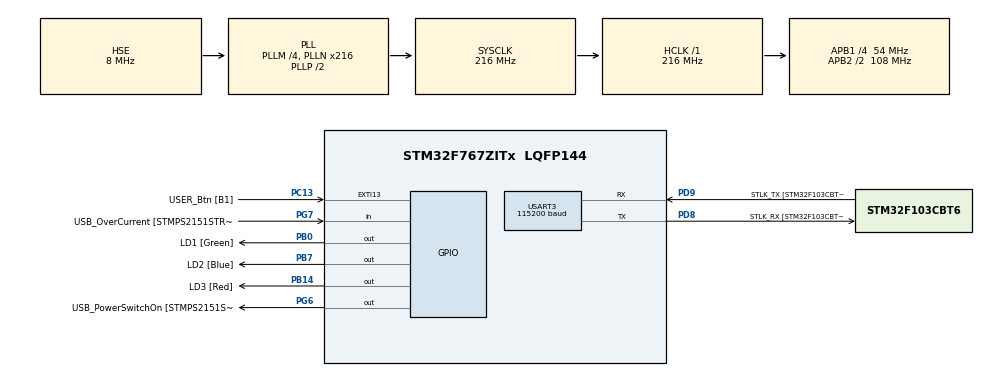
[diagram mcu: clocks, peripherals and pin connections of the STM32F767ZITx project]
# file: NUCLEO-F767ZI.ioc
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CORTEX_M7.CPU_DCache=Enabled
CORTEX_M7.CPU_ICache=Enabled
Mcu.Family=STM32F7
Mcu.Name=STM32F767ZITx
Mcu.Package=LQFP144
NVIC.PriorityGroup=NVIC_PRIORITYGROUP_4
PA1.GPIO_Label=RMII_REF_CLK [LAN8742A-CZ-TR_REFCLK0]
PA1.Signal=ETH_REF_CLK
PA10.GPIO_Label=USB_ID
PA10.Signal=USB_OTG_FS_ID
PA11.GPIO_Label=USB_DM
PA11.Signal=USB_OTG_FS_DM
PA12.GPIO_Label=USB_DP
PA12.Signal=USB_OTG_FS_DP
PA13.GPIO_Label=TMS
PA13.Signal=SYS_JTMS-SWDIO
PA14.GPIO_Label=TCK
PA14.Signal=SYS_JTCK-SWCLK
PA2.GPIO_Label=RMII_MDIO [LAN8742A-CZ-TR_MDIO]
PA2.Signal=ETH_MDIO
PA7.GPIO_Label=RMII_CRS_DV [LAN8742A-CZ-TR_CRS_DV]
PA7.Signal=ETH_CRS_DV
PA8.GPIO_Label=USB_SOF [TP1]
PA8.Signal=USB_OTG_FS_SOF
PA9.GPIO_Label=USB_VBUS
PA9.Signal=USB_OTG_FS_VBUS
PB0.GPIO_Label=LD1 [Green]
PB0.Signal=GPIO_Output
PB13.GPIO_Label=RMII_TXD1 [LAN8742A-CZ-TR_TXD1]
PB13.Signal=ETH_TXD1
PB14.GPIO_Label=LD3 [Red]
PB14.Signal=GPIO_Output
PB3.GPIO_Label=SW0
PB3.Signal=SYS_JTDO-SWO
PB7.GPIO_Label=LD2 [Blue]
PB7.Signal=GPIO_Output
PC1.GPIO_Label=RMII_MDC [LAN8742A-CZ-TR_MDC]
PC1.Signal=ETH_MDC
PC13.GPIO_Label=USER_Btn [B1]
PC13.Signal=GPXTI13
PC14/OSC32_IN.Signal=RCC_OSC32_IN
PC15/OSC32_OUT.Signal=RCC_OSC32_OUT
PC4.GPIO_Label=RMII_RXD0 [LAN8742A-CZ-TR_RXD0]
PC4.Signal=ETH_RXD0
PC5.GPIO_Label=RMII_RXD1 [LAN8742A-CZ-TR_RXD1]
PC5.Signal=ETH_RXD1
PD8.GPIO_Label=STLK_RX [STM32F103CBT6_PA3]
PD8.Mode=Asynchronous
PD8.Signal=USART3_TX
PD9.GPIO_Label=STLK_TX [STM32F103CBT6_PA2]
PD9.GPIO_PuPd=GPIO_PULLUP
PD9.Mode=Asynchronous
PD9.Signal=USART3_RX
PG11.GPIO_Label=RMII_TX_EN [LAN8742A-CZ-TR_TXEN]
PG11.Signal=ETH_TX_EN
PG13.GPIO_Label=RMII_TXD0 [LAN8742A-CZ-TR_TXD0]
PG13.Signal=ETH_TXD0
PG6.GPIO_Label=USB_PowerSwitchOn [STMPS2151STR_EN]
PG6.Signal=GPIO_Output
PG7.GPIO_Label=USB_OverCurrent [STMPS2151STR_FAULT]
PG7.Signal=GPIO_Input
PH0/OSC_IN.GPIO_Label=MCO [STM32F103CBT6_PA8]
PH0/OSC_IN.Mode=HSE-External-Clock-Source
PH0/OSC_IN.Signal=RCC_OSC_IN
PH1/OSC_OUT.Mode=HSE-External-Clock-Source
PH1/OSC_OUT.Signal=RCC_OSC_OUT
ProjectManager.HeapSize=0x800
ProjectManager.StackSize=0x800
ProjectManager.TargetToolchain=STM32CubeIDE
RCC.48MHZClocksFreq_Value=24000000
RCC.AHBFreq_Value=216000000
RCC.APB1CLKDivider=RCC_HCLK_DIV4
RCC.APB1Freq_Value=54000000
RCC.APB1TimFreq_Value=108000000
RCC.APB2CLKDivider=RCC_HCLK_DIV2
RCC.APB2Freq_Value=108000000
RCC.APB2TimFreq_Value=216000000
RCC.CortexFreq_Value=216000000
RCC.HCLKFreq_Value=216000000
RCC.HSE_VALUE=8000000
RCC.HSI_VALUE=16000000
RCC.LSE_VALUE=32768
RCC.PLLM=4
RCC.PLLMUL=RCC_PLL_MUL9
RCC.PLLN=216
RCC.PLLP=2
RCC.PLLQ=9
RCC.PLLSourceVirtual=RCC_PLLSOURCE_HSE
RCC.PRESCALERUSB=RCC_USBCLKSOURCE_PLL_DIV1_5
RCC.SYSCLKFreq_VALUE=216000000
RCC.SYSCLKSource=RCC_SYSCLKSOURCE_PLLCLK
RCC.SYSCLKSourceVirtual=RCC_SYSCLKSOURCE_PLLCLK
RCC.USBFreq_Value=48000000
RCC.VCOOutputFreq_Value=432000000
STMicroelectronics.X-CUBE-AI.9.1.0.ActivationBufferSizeList=7616
STMicroelectronics.X-CUBE-AI.9.1.0.ActivationBuffers=pool0
STMicroelectronics.X-CUBE-AI.9.1.0.ActivationNames=pool0
STMicroelectronics.X-CUBE-AI.9.1.0.ActivationSizes=AI_NETWORK_DATA_ACTIVATION_1_SIZE
STMicroelectronics.X-CUBE-AI.9.1.0.ApplicationCcDeviceJjApplication=ApplicationTemplate
STMicroelectronics.X-CUBE-AI.9.1.0.HeapSize=0x800
STMicroelectronics.X-CUBE-AI.9.1.0.InternalRamActivationBufferMaxSize=AI_NETWORK_DATA_ACTIVATIONS_SIZE
STMicroelectronics.X-CUBE-AI.9.1.0.LatestDirectoryUsed-6fb00455dd6c7cb365313a46944d84a6267cc4584b4c8885d4b5e8ea9e430d26=C\:\\Users\\DELL\\OneDrive - KMITL\\Desktop\\RTOS\\NUCLEO-F767ZI
STMicroelectronics.X-CUBE-AI.9.1.0.MaximumNumberOfInputLayer=1
STMicroelectronics.X-CUBE-AI.9.1.0.MaximumNumberOfOutputLayer=1
STMicroelectronics.X-CUBE-AI.9.1.0.MaximumSizeOfInputLayer=1
STMicroelectronics.X-CUBE-AI.9.1.0.MaximumSizeOfOutputLayer=1
STMicroelectronics.X-CUBE-AI.9.1.0.ModelActualCompression-6fb00455dd6c7cb365313a46944d84a6267cc4584b4c8885d4b5e8ea9e430d26=0.0
STMicroelectronics.X-CUBE-AI.9.1.0.ModelCompression-6fb00455dd6c7cb365313a46944d84a6267cc4584b4c8885d4b5e8ea9e430d26=None
STMicroelectronics.X-CUBE-AI.9.1.0.ModelFlashOccupation-6fb00455dd6c7cb365313a46944d84a6267cc4584b4c8885d4b5e8ea9e430d26=38096
STMicroelectronics.X-CUBE-AI.9.1.0.ModelHashList=6fb00455dd6c7cb365313a46944d84a6267cc4584b4c8885d4b5e8ea9e430d26
STMicroelectronics.X-CUBE-AI.9.1.0.ModelKind-6fb00455dd6c7cb365313a46944d84a6267cc4584b4c8885d4b5e8ea9e430d26=TFLITE
STMicroelectronics.X-CUBE-AI.9.1.0.ModelMacc-6fb00455dd6c7cb365313a46944d84a6267cc4584b4c8885d4b5e8ea9e430d26=359992
STMicroelectronics.X-CUBE-AI.9.1.0.ModelName-6fb00455dd6c7cb365313a46944d84a6267cc4584b4c8885d4b5e8ea9e430d26=network
STMicroelectronics.X-CUBE-AI.9.1.0.ModelNameList=network
STMicroelectronics.X-CUBE-AI.9.1.0.ModelRamOccupation-6fb00455dd6c7cb365313a46944d84a6267cc4584b4c8885d4b5e8ea9e430d26=7616
STMicroelectronics.X-CUBE-AI.9.1.0.ModelStructureFile-6fb00455dd6c7cb365313a46944d84a6267cc4584b4c8885d4b5e8ea9e430d26=quantized_model.tflite
STMicroelectronics.X-CUBE-AI.9.1.0.ModelType-6fb00455dd6c7cb365313a46944d84a6267cc4584b4c8885d4b5e8ea9e430d26=STM32Cube.AI MCU runtime
STMicroelectronics.X-CUBE-AI.9.1.0.ReadyForCodeGeneration=true
STMicroelectronics.X-CUBE-AI.9.1.0.StackSize=0x800
STMicroelectronics.X-CUBE-AI.9.1.0.WorkingBufferStartAddrList=0xFFFFFFFF
STMicroelectronics.X-CUBE-AI.9.1.0.XAaCUBEAaAICcArtificialOoIntelligenceJjCore=true
STMicroelectronics.X-CUBE-AI.9.1.0.copyWeightToRam=false
STMicroelectronics.X-CUBE-AI.9.1.0.copyWeightToRam-6fb00455dd6c7cb365313a46944d84a6267cc4584b4c8885d4b5e8ea9e430d26=false
STMicroelectronics.X-CUBE-AI.9.1.0.customLayerConfigEnabled=false
STMicroelectronics.X-CUBE-AI.9.1.0.customLayerConfigEnabled-6fb00455dd6c7cb365313a46944d84a6267cc4584b4c8885d4b5e8ea9e430d26=false
STMicroelectronics.X-CUBE-AI.9.1.0.noOnnxIoTranspose=false
STMicroelectronics.X-CUBE-AI.9.1.0.noOnnxIoTranspose-6fb00455dd6c7cb365313a46944d84a6267cc4584b4c8885d4b5e8ea9e430d26=false
STMicroelectronics.X-CUBE-AI.9.1.0.useInputAllocation=true
STMicroelectronics.X-CUBE-AI.9.1.0.useInputAllocation-6fb00455dd6c7cb365313a46944d84a6267cc4584b4c8885d4b5e8ea9e430d26=true
STMicroelectronics.X-CUBE-AI.9.1.0.useOutputAllocation=true
STMicroelectronics.X-CUBE-AI.9.1.0.useOutputAllocation-6fb00455dd6c7cb365313a46944d84a6267cc4584b4c8885d4b5e8ea9e430d26=true
USART3.BaudRate=115200
USART3.VirtualMode-Asynchronous=VM_ASYNC
VP_STMicroelectronics.X-CUBE-AI_VS_ArtificialOoIntelligenceJjXAaCUBEAaAI_9.1.0.Mode=ArtificialOoIntelligenceJjXAaCUBEAaAI
VP_STMicroelectronics.X-CUBE-AI_VS_DeviceJjApplication_9.1.0.Mode=DeviceJjApplication
board=NUCLEO-F767ZI

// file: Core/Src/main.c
/* USER CODE BEGIN Header */
/**
  ******************************************************************************
  * @file           : main.c
  * @brief          : Main program body
  ******************************************************************************
  * @attention
  *
  * Copyright (c) 2025 STMicroelectronics.
  * All rights reserved.
  *
  * This software is licensed under terms that can be found in the LICENSE file
  * in the root directory of this software component.
  * If no LICENSE file comes with this software, it is provided AS-IS.
  *
  ******************************************************************************
  */
/* USER CODE END Header */
#include "main.h"
#include "app_x-cube-ai.h"

/* USER CODE BEGIN Includes */
#include "string.h"
#include <stdbool.h>
/* USER CODE END Includes */

/* USER CODE BEGIN PD */
#define IMAGE_SIZE 784  // 28x28
int8_t image_buffer[IMAGE_SIZE];
int8_t flag;
/* USER CODE END PD */

UART_HandleTypeDef huart3;

void SystemClock_Config(void);
static void MX_GPIO_Init(void);

int main(void)
{

  /* Enable the CPU Cache */

  /* Enable I-Cache---------------------------------------------------------*/
  SCB_EnableICache();

  /* Enable D-Cache---------------------------------------------------------*/
  SCB_EnableDCache();

  /* MCU Configuration--------------------------------------------------------*/

  /* Reset of all peripherals, Initializes the Flash interface and the Systick. */
  HAL_Init();

  /* USER CODE BEGIN Init */
  flag = 0;
  /* USER CODE END Init */

  /* Configure the system clock */
  SystemClock_Config();

  /* Initialize all configured peripherals */
  MX_GPIO_Init();
  MX_X_CUBE_AI_Init();
  /* USER CODE BEGIN 2 */
  MX_USART3_UART_Init();
  HAL_GPIO_WritePin(GPIOB, GPIO_PIN_7, 0);

  HAL_GPIO_WritePin(GPIOB, GPIO_PIN_0, 0);

//  char send_data[] = "Hello";
//  HAL_UART_Transmit(&huart3, (uint8_t*)send_data, strlen(send_data), 1000);
  /* USER CODE END 2 */

  /* Infinite loop */
  /* USER CODE BEGIN WHILE */
  while (1)
  {

  //HAL_GPIO_TogglePin(GPIOB, GPIO_PIN_0);
  //HAL_Delay(500);
//  if (HAL_UART_Receive(&huart3, (uint8_t *)image_buffer, IMAGE_SIZE, HAL_MAX_DELAY) == HAL_OK) {

//  }

  if (HAL_UART_Receive(&huart3, (uint8_t*)image_buffer, 28 * 28, 5000) == HAL_OK) {

  		HAL_GPIO_WritePin(GPIOB, GPIO_PIN_7, GPIO_PIN_SET);
  		flag = 1;
  		MX_X_CUBE_AI_Process();

  }

    /* USER CODE END WHILE */

//  MX_X_CUBE_AI_Process();
  }
}

void SystemClock_Config(void)
{
  RCC_OscInitTypeDef RCC_OscInitStruct = {0};
  RCC_ClkInitTypeDef RCC_ClkInitStruct = {0};

  /** Configure the main internal regulator output voltage
  */
  __HAL_RCC_PWR_CLK_ENABLE();
  __HAL_PWR_VOLTAGESCALING_CONFIG(PWR_REGULATOR_VOLTAGE_SCALE1);

  /** Initializes the RCC Oscillators according to the specified parameters
  * in the RCC_OscInitTypeDef structure.
  */
  RCC_OscInitStruct.OscillatorType = RCC_OSCILLATORTYPE_HSE;
  RCC_OscInitStruct.HSEState = RCC_HSE_BYPASS;
  RCC_OscInitStruct.PLL.PLLState = RCC_PLL_ON;
  RCC_OscInitStruct.PLL.PLLSource = RCC_PLLSOURCE_HSE;
  RCC_OscInitStruct.PLL.PLLM = 4;
  RCC_OscInitStruct.PLL.PLLN = 216;
  RCC_OscInitStruct.PLL.PLLP = 2;
  RCC_OscInitStruct.PLL.PLLQ = 9;
  RCC_OscInitStruct.PLL.PLLR = 2;
  if (HAL_RCC_OscConfig(&RCC_OscInitStruct) != HAL_OK)
  {
    Error_Handler();
  }

  /** Activate the Over-Drive mode
  */
  if (HAL_PWREx_EnableOverDrive() != HAL_OK)
  {
    Error_Handler();
  }

  /** Initializes the CPU, AHB and APB buses clocks
  */
  RCC_ClkInitStruct.ClockType = RCC_CLOCKTYPE_HCLK|RCC_CLOCKTYPE_SYSCLK
                              |RCC_CLOCKTYPE_PCLK1|RCC_CLOCKTYPE_PCLK2;
  RCC_ClkInitStruct.SYSCLKSource = RCC_SYSCLKSOURCE_PLLCLK;
  RCC_ClkInitStruct.AHBCLKDivider = RCC_SYSCLK_DIV1;
  RCC_ClkInitStruct.APB1CLKDivider = RCC_HCLK_DIV4;
  RCC_ClkInitStruct.APB2CLKDivider = RCC_HCLK_DIV2;

  if (HAL_RCC_ClockConfig(&RCC_ClkInitStruct, FLASH_LATENCY_7) != HAL_OK)
  {
    Error_Handler();
  }
}

void MX_USART3_UART_Init(void)
{

  huart3.Instance = USART3;
  huart3.Init.BaudRate = 115200;
  huart3.Init.WordLength = UART_WORDLENGTH_8B;
  huart3.Init.StopBits = UART_STOPBITS_1;
  huart3.Init.Parity = UART_PARITY_NONE;
  huart3.Init.Mode = UART_MODE_TX_RX;
  huart3.Init.HwFlowCtl = UART_HWCONTROL_NONE;
  huart3.Init.OverSampling = UART_OVERSAMPLING_16;
  huart3.Init.OneBitSampling = UART_ONE_BIT_SAMPLE_DISABLE;
  huart3.AdvancedInit.AdvFeatureInit = UART_ADVFEATURE_NO_INIT;
  if (HAL_UART_Init(&huart3) != HAL_OK)
  {
    Error_Handler();
  }

}

static void MX_GPIO_Init(void)
{
  GPIO_InitTypeDef GPIO_InitStruct = {0};

  /* GPIO Ports Clock Enable */
  __HAL_RCC_GPIOC_CLK_ENABLE();
  __HAL_RCC_GPIOH_CLK_ENABLE();
  __HAL_RCC_GPIOA_CLK_ENABLE();
  __HAL_RCC_GPIOB_CLK_ENABLE();
  __HAL_RCC_GPIOD_CLK_ENABLE();
  __HAL_RCC_GPIOG_CLK_ENABLE();

  /*Configure GPIO pin Output Level */
  HAL_GPIO_WritePin(GPIOB, LD1_Pin|LD3_Pin|LD2_Pin, GPIO_PIN_RESET);

  /*Configure GPIO pin Output Level */
  HAL_GPIO_WritePin(USB_PowerSwitchOn_GPIO_Port, USB_PowerSwitchOn_Pin, GPIO_PIN_RESET);

  /*Configure GPIO pin : USER_Btn_Pin */
  GPIO_InitStruct.Pin = USER_Btn_Pin;
  GPIO_InitStruct.Mode = GPIO_MODE_IT_RISING;
  GPIO_InitStruct.Pull = GPIO_NOPULL;
  HAL_GPIO_Init(USER_Btn_GPIO_Port, &GPIO_InitStruct);

  /*Configure GPIO pins : RMII_MDC_Pin RMII_RXD0_Pin RMII_RXD1_Pin */
  GPIO_InitStruct.Pin = RMII_MDC_Pin|RMII_RXD0_Pin|RMII_RXD1_Pin;
  GPIO_InitStruct.Mode = GPIO_MODE_AF_PP;
  GPIO_InitStruct.Pull = GPIO_NOPULL;
  GPIO_InitStruct.Speed = GPIO_SPEED_FREQ_VERY_HIGH;
  GPIO_InitStruct.Alternate = GPIO_AF11_ETH;
  HAL_GPIO_Init(GPIOC, &GPIO_InitStruct);

  /*Configure GPIO pins : RMII_REF_CLK_Pin RMII_MDIO_Pin RMII_CRS_DV_Pin */
  GPIO_InitStruct.Pin = RMII_REF_CLK_Pin|RMII_MDIO_Pin|RMII_CRS_DV_Pin;
  GPIO_InitStruct.Mode = GPIO_MODE_AF_PP;
  GPIO_InitStruct.Pull = GPIO_NOPULL;
  GPIO_InitStruct.Speed = GPIO_SPEED_FREQ_VERY_HIGH;
  GPIO_InitStruct.Alternate = GPIO_AF11_ETH;
  HAL_GPIO_Init(GPIOA, &GPIO_InitStruct);

  /*Configure GPIO pins : LD1_Pin LD3_Pin LD2_Pin */
  GPIO_InitStruct.Pin = LD1_Pin|LD3_Pin|LD2_Pin;
  GPIO_InitStruct.Mode = GPIO_MODE_OUTPUT_PP;
  GPIO_InitStruct.Pull = GPIO_NOPULL;
  GPIO_InitStruct.Speed = GPIO_SPEED_FREQ_LOW;
  HAL_GPIO_Init(GPIOB, &GPIO_InitStruct);

  /*Configure GPIO pin : RMII_TXD1_Pin */
  GPIO_InitStruct.Pin = RMII_TXD1_Pin;
  GPIO_InitStruct.Mode = GPIO_MODE_AF_PP;
  GPIO_InitStruct.Pull = GPIO_NOPULL;
  GPIO_InitStruct.Speed = GPIO_SPEED_FREQ_VERY_HIGH;
  GPIO_InitStruct.Alternate = GPIO_AF11_ETH;
  HAL_GPIO_Init(RMII_TXD1_GPIO_Port, &GPIO_InitStruct);

  /*Configure GPIO pin : USB_PowerSwitchOn_Pin */
  GPIO_InitStruct.Pin = USB_PowerSwitchOn_Pin;
  GPIO_InitStruct.Mode = GPIO_MODE_OUTPUT_PP;
  GPIO_InitStruct.Pull = GPIO_NOPULL;
  GPIO_InitStruct.Speed = GPIO_SPEED_FREQ_LOW;
  HAL_GPIO_Init(USB_PowerSwitchOn_GPIO_Port, &GPIO_InitStruct);

  /*Configure GPIO pin : USB_OverCurrent_Pin */
  GPIO_InitStruct.Pin = USB_OverCurrent_Pin;
  GPIO_InitStruct.Mode = GPIO_MODE_INPUT;
  GPIO_InitStruct.Pull = GPIO_NOPULL;
  HAL_GPIO_Init(USB_OverCurrent_GPIO_Port, &GPIO_InitStruct);

  /*Configure GPIO pins : USB_SOF_Pin USB_ID_Pin USB_DM_Pin USB_DP_Pin */
  GPIO_InitStruct.Pin = USB_SOF_Pin|USB_ID_Pin|USB_DM_Pin|USB_DP_Pin;
  GPIO_InitStruct.Mode = GPIO_MODE_AF_PP;
  GPIO_InitStruct.Pull = GPIO_NOPULL;
  GPIO_InitStruct.Speed = GPIO_SPEED_FREQ_VERY_HIGH;
  GPIO_InitStruct.Alternate = GPIO_AF10_OTG_FS;
  HAL_GPIO_Init(GPIOA, &GPIO_InitStruct);

  /*Configure GPIO pin : USB_VBUS_Pin */
  GPIO_InitStruct.Pin = USB_VBUS_Pin;
  GPIO_InitStruct.Mode = GPIO_MODE_INPUT;
  GPIO_InitStruct.Pull = GPIO_NOPULL;
  HAL_GPIO_Init(USB_VBUS_GPIO_Port, &GPIO_InitStruct);

  /*Configure GPIO pins : RMII_TX_EN_Pin RMII_TXD0_Pin */
  GPIO_InitStruct.Pin = RMII_TX_EN_Pin|RMII_TXD0_Pin;
  GPIO_InitStruct.Mode = GPIO_MODE_AF_PP;
  GPIO_InitStruct.Pull = GPIO_NOPULL;
  GPIO_InitStruct.Speed = GPIO_SPEED_FREQ_VERY_HIGH;
  GPIO_InitStruct.Alternate = GPIO_AF11_ETH;
  HAL_GPIO_Init(GPIOG, &GPIO_InitStruct);

}

/* USER CODE BEGIN 4 */
void print_array(uint8_t* array, int len){
	HAL_UART_Transmit(&huart3, array, len, 0xFFFF);
}

void print_now(const char* string){
	print_array((uint8_t *)string, strlen(string));
}

/* USER CODE END 4 */

void Error_Handler(void)
{
  __disable_irq();
  while (1)
  {
  }
}
